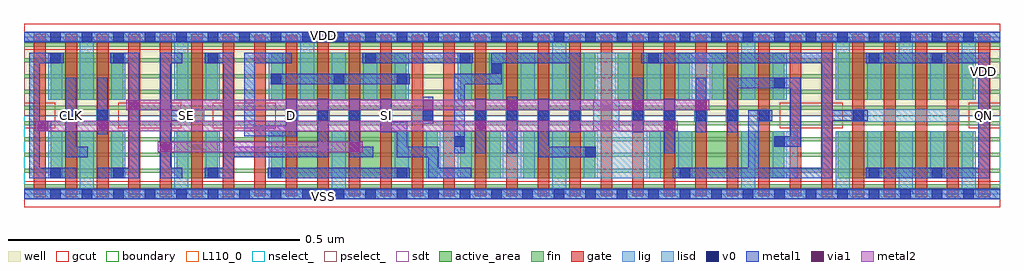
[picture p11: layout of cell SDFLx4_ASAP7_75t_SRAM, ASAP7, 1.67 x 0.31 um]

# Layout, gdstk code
import gdstk
lib = gdstk.Library(unit=1e-6, precision=2.5e-10)
def R(c, l, rs):  # rectangles x0, y0, x1, y1
    for r in rs: c.add(gdstk.rectangle(r[:2], r[2:], *l))
def A(c, l, x, y, w, h, nx, ny, dx, dy):  # array of equal rectangles
    R(c, l, [(x+i*dx, y+j*dy, x+i*dx+w, y+j*dy+h) for i in range(nx) for j in range(ny)])
def P(c, l, *ps):  # polygons
    for p in ps: c.add(gdstk.Polygon(p, *l))
well = (1, 0)
fin = (2, 0)
gate = (7, 0)
gcut = (10, 0)
active_area = (11, 0)
nselect_ = (12, 0)
pselect_ = (13, 0)
lig = (16, 0)
lisd = (17, 0)
v0 = (18, 0)
metal1 = (19, 0)
metal2 = (20, 0)
via1 = (21, 0)
sdt = (88, 0)
boundary = (100, 0)
L110_0 = (110, 0)

sdflx4_asap7_75t_sram = lib.new_cell('SDFLx4_ASAP7_75t_SRAM')
R(sdflx4_asap7_75t_sram, well, [(0,0.135,1.674,0.27)])
A(sdflx4_asap7_75t_sram, fin, 0, 0.01, 1.674, 0.007, 1, 10, 0, 0.027)
A(sdflx4_asap7_75t_sram, gate, 0.017, -0.005, 0.02, 0.2805, 7, 1, 0.054, 0)
A(sdflx4_asap7_75t_sram, gate, 1.367, -0.005, 0.02, 0.2805, 6, 1, 0.054, 0)
A(sdflx4_asap7_75t_sram, gate, 0.395, -0.0035, 0.02, 0.277, 18, 1, 0.054, 0)
R(sdflx4_asap7_75t_sram, gcut, [(0,-0.022,1.674,0.022), (0,0.113,0.054,0.157), (0.162,0.113,0.27,0.157), (0.324,0.113,0.432,0.157), (1.296,0.113,1.404,0.157), (1.62,0.113,1.674,0.157), (0,0.248,1.674,0.292)])
R(sdflx4_asap7_75t_sram, active_area, [(0.046,0.027,0.17,0.108), (0.262,0.027,0.332,0.108), (0.424,0.027,0.71,0.108), (0.748,0.027,0.818,0.108), (0.856,0.027,0.98,0.108), (1.072,0.027,1.304,0.108), (1.396,0.027,1.628,0.108), (0.046,0.162,0.17,0.243), (0.262,0.162,0.332,0.243), (0.424,0.162,0.656,0.243), (0.748,0.162,0.98,0.243), (1.018,0.162,1.142,0.243), (1.18,0.162,1.304,0.243), (1.396,0.162,1.628,0.243)])
R(sdflx4_asap7_75t_sram, nselect_, [(0,0,1.674,0.135)])
R(sdflx4_asap7_75t_sram, pselect_, [(0,0.135,1.674,0.27)])
A(sdflx4_asap7_75t_sram, lig, 0.448, 0.124, 0.022, 0.022, 4, 1, 0.054, 0)
A(sdflx4_asap7_75t_sram, lig, 0.772, 0.124, 0.022, 0.022, 4, 1, 0.054, 0)
A(sdflx4_asap7_75t_sram, lig, 1.042, 0.124, 0.022, 0.022, 5, 1, 0.054, 0)
R(sdflx4_asap7_75t_sram, lig, [(0,-0.008,1.674,0.008), (0.07,0.124,0.092,0.146), (0.124,0.124,0.146,0.146), (0.27,0.124,0.309,0.146), (0.664,0.124,0.702,0.146), (1.42,0.124,1.604,0.146), (0,0.262,1.674,0.278)])
A(sdflx4_asap7_75t_sram, lisd, 1.392, 0, 0.024, 0.108, 3, 2, 0.108, 0.162)
A(sdflx4_asap7_75t_sram, lisd, 0.312, 0.162, 0.024, 0.081, 3, 1, 0.108, 0)
A(sdflx4_asap7_75t_sram, lisd, 0.744, 0.162, 0.024, 0.081, 3, 1, 0.054, 0)
R(sdflx4_asap7_75t_sram, lisd, [(0.096,0,0.12,0.108), (0.258,0,0.282,0.108), (0.528,0,0.552,0.108), (0.906,0,0.93,0.108), (1.23,0,1.254,0.108), (0.042,0.027,0.066,0.108), (0.15,0.027,0.174,0.108), (0.312,0.027,0.336,0.108), (0.42,0.027,0.444,0.108), (0.636,0.027,0.66,0.108), (0.69,0.027,0.768,0.108), (0.798,0.027,0.876,0.108), (1.122,0.027,1.146,0.108), (1.284,0.027,1.327,0.108), (1.446,0.027,1.47,0.108), (1.554,0.027,1.578,0.108), (0.042,0.162,0.066,0.243), (0.096,0.162,0.12,0.27), (0.15,0.162,0.174,0.243), (0.258,0.162,0.282,0.27), (0.474,0.162,0.498,0.27), (0.582,0.162,0.606,0.243), (0.636,0.162,0.66,0.243), (0.906,0.162,0.93,0.27), (1.068,0.162,1.092,0.243), (1.122,0.162,1.2,0.243), (1.23,0.162,1.254,0.27), (1.284,0.162,1.308,0.243), (1.446,0.162,1.47,0.243), (1.554,0.162,1.578,0.243)])
P(sdflx4_asap7_75t_sram, lisd, [(1.092,0.108),(1.021,0.108),(1.021,0.162),(1.038,0.162),(1.038,0.243),(0.96,0.243),(0.96,0.162),(0.976,0.162),(0.976,0.108),(0.96,0.108),(0.96,0.027),(1.092,0.027)])
A(sdflx4_asap7_75t_sram, v0, 0.045, -0.009, 0.018, 0.018, 30, 2, 0.054, 0.27)
A(sdflx4_asap7_75t_sram, v0, 0.45, 0.126, 0.018, 0.018, 4, 1, 0.054, 0)
A(sdflx4_asap7_75t_sram, v0, 0.774, 0.126, 0.018, 0.018, 4, 1, 0.054, 0)
A(sdflx4_asap7_75t_sram, v0, 1.044, 0.126, 0.018, 0.018, 5, 1, 0.054, 0)
A(sdflx4_asap7_75t_sram, v0, 0.423, 0.189, 0.018, 0.018, 3, 1, 0.108, 0)
R(sdflx4_asap7_75t_sram, v0, [(0.045,0.027,0.063,0.045), (0.153,0.027,0.171,0.045), (0.315,0.027,0.333,0.045), (0.423,0.027,0.441,0.045), (0.639,0.027,0.657,0.045), (1.125,0.027,1.143,0.045), (1.449,0.027,1.467,0.045), (1.557,0.027,1.575,0.045), (0.963,0.063,0.981,0.081), (0.738,0.081,0.756,0.099), (1.287,0.081,1.305,0.099), (0.072,0.126,0.09,0.144), (0.126,0.126,0.144,0.144), (0.271,0.126,0.289,0.144), (0.684,0.126,0.702,0.144), (1.422,0.126,1.44,0.144), (1.287,0.182,1.305,0.2), (0.801,0.207,0.819,0.225), (0.045,0.225,0.063,0.243), (0.153,0.225,0.171,0.243), (0.315,0.225,0.333,0.243), (0.585,0.225,0.603,0.243), (0.747,0.225,0.765,0.243), (1.071,0.225,1.089,0.243), (1.449,0.225,1.467,0.243), (1.557,0.225,1.575,0.243)])
R(sdflx4_asap7_75t_sram, metal1, [(0,-0.009,1.674,0.009), (0.418,0.027,0.662,0.045), (0.774,0.07,0.792,0.164), (0.828,0.07,0.846,0.167), (1.098,0.07,1.116,0.164), (0.126,0.103,0.144,0.2), (1.044,0.106,1.062,0.2), (1.152,0.106,1.17,0.2), (0.684,0.121,0.702,0.167), (0.423,0.189,0.662,0.207), (0.58,0.225,0.77,0.243), (0,0.261,1.674,0.279)])
P(sdflx4_asap7_75t_sram, metal1, [(1.656,0.243),(1.444,0.243),(1.444,0.225),(1.637,0.225),(1.637,0.045),(1.444,0.045),(1.444,0.027),(1.656,0.027)],
  [(1.447,0.144),(1.386,0.144),(1.386,0.243),(1.059,0.243),(1.059,0.225),(1.368,0.225),(1.368,0.045),(1.26,0.045),(1.26,0.126),(1.283,0.126),(1.283,0.144),(1.242,0.144),(1.242,0.045),(1.113,0.045),(1.113,0.027),(1.386,0.027),(1.386,0.126),(1.447,0.126)],
  [(1.332,0.2),(1.206,0.2),(1.206,0.106),(1.224,0.106),(1.224,0.182),(1.314,0.182),(1.314,0.099),(1.287,0.099),(1.287,0.081),(1.332,0.081)],
  [(0.981,0.081),(0.9,0.081),(0.9,0.164),(0.882,0.164),(0.882,0.063),(0.981,0.063)],
  [(0.954,0.243),(0.801,0.243),(0.801,0.207),(0.738,0.207),(0.738,0.07),(0.756,0.07),(0.756,0.189),(0.819,0.189),(0.819,0.225),(0.936,0.225),(0.936,0.106),(0.954,0.106)],
  [(0.767,0.045),(0.711,0.045),(0.711,0.081),(0.657,0.081),(0.657,0.124),(0.63,0.124),(0.63,0.164),(0.612,0.164),(0.612,0.106),(0.639,0.106),(0.639,0.063),(0.693,0.063),(0.693,0.027),(0.767,0.027)],
  [(0.599,0.081),(0.576,0.081),(0.576,0.164),(0.558,0.164),(0.558,0.063),(0.599,0.063)],
  [(0.522,0.164),(0.504,0.164),(0.504,0.081),(0.36,0.081),(0.36,0.243),(0.31,0.243),(0.31,0.225),(0.342,0.225),(0.342,0.045),(0.31,0.045),(0.31,0.027),(0.36,0.027),(0.36,0.063),(0.522,0.063)],
  [(0.468,0.164),(0.45,0.164),(0.45,0.117),(0.396,0.117),(0.396,0.225),(0.459,0.225),(0.459,0.243),(0.378,0.243),(0.378,0.099),(0.468,0.099)],
  [(0.09,0.045),(0.027,0.045),(0.027,0.108),(0.047,0.108),(0.047,0.126),(0.027,0.126),(0.027,0.225),(0.068,0.225),(0.068,0.243),(0.009,0.243),(0.009,0.027),(0.09,0.027)],
  [(0.109,0.081),(0.09,0.081),(0.09,0.2),(0.072,0.2),(0.072,0.063),(0.109,0.063)],
  [(0.198,0.243),(0.148,0.243),(0.148,0.225),(0.18,0.225),(0.18,0.045),(0.126,0.045),(0.126,0.027),(0.198,0.027)],
  [(0.289,0.144),(0.252,0.144),(0.252,0.225),(0.271,0.225),(0.271,0.243),(0.234,0.243),(0.234,0.027),(0.271,0.027),(0.271,0.045),(0.252,0.045),(0.252,0.126),(0.289,0.126)])
R(sdflx4_asap7_75t_sram, metal2, [(0.229,0.072,0.581,0.09), (0.019,0.108,0.042,0.126), (0.024,0.108,1.121,0.126), (0.175,0.144,0.198,0.162), (0.18,0.144,1.175,0.162)])
R(sdflx4_asap7_75t_sram, via1, [(0.234,0.072,0.252,0.09), (0.558,0.072,0.576,0.09), (0.024,0.108,0.042,0.126), (0.126,0.108,0.144,0.126), (0.774,0.108,0.792,0.126), (1.098,0.108,1.116,0.126), (0.18,0.144,0.198,0.162), (0.684,0.144,0.702,0.162), (0.828,0.144,0.846,0.162), (1.044,0.144,1.062,0.162), (1.152,0.144,1.17,0.162)])
A(sdflx4_asap7_75t_sram, sdt, 0.042, 0.027, 0.024, 0.081, 3, 2, 0.054, 0.135)
A(sdflx4_asap7_75t_sram, sdt, 0.312, 0.027, 0.024, 0.081, 4, 1, 0.108, 0)
A(sdflx4_asap7_75t_sram, sdt, 0.69, 0.027, 0.024, 0.081, 6, 1, 0.054, 0)
A(sdflx4_asap7_75t_sram, sdt, 1.392, 0.027, 0.024, 0.081, 5, 2, 0.054, 0.135)
A(sdflx4_asap7_75t_sram, sdt, 0.42, 0.162, 0.024, 0.081, 5, 1, 0.054, 0)
A(sdflx4_asap7_75t_sram, sdt, 0.744, 0.162, 0.024, 0.081, 11, 1, 0.054, 0)
R(sdflx4_asap7_75t_sram, sdt, [(0.258,0.027,0.282,0.108), (1.068,0.027,1.092,0.108), (1.122,0.027,1.146,0.108), (1.23,0.027,1.254,0.108), (1.284,0.027,1.308,0.108), (0.258,0.162,0.282,0.243), (0.312,0.162,0.336,0.243)])
R(sdflx4_asap7_75t_sram, boundary, [(0,0,1.674,0.27)])
R(sdflx4_asap7_75t_sram, L110_0, [(0,0,1.674,0.27)])
sdflx4_asap7_75t_sram.add(gdstk.Label('VSS', (0.513,-0.0035), layer=19, texttype=251))
sdflx4_asap7_75t_sram.add(gdstk.Label('QN', (1.646,0.1345), layer=19, texttype=251))
sdflx4_asap7_75t_sram.add(gdstk.Label('SE', (0.278,0.1345), layer=19, texttype=251))
sdflx4_asap7_75t_sram.add(gdstk.Label('CLK', (0.081,0.1345), layer=19, texttype=251))
sdflx4_asap7_75t_sram.add(gdstk.Label('D', (0.459,0.1345), layer=19, texttype=251))
sdflx4_asap7_75t_sram.add(gdstk.Label('SI', (0.621,0.1345), layer=19, texttype=251))
sdflx4_asap7_75t_sram.add(gdstk.Label('VDD', (0.513,0.2725), layer=19, texttype=251))
sdflx4_asap7_75t_sram.add(gdstk.Label('VDD', (1.646,0.211), layer=1, texttype=251))
sdflx4_asap7_75t_sram.add(gdstk.Label('VSS', (1.715,0.21), layer=3, texttype=251))

lib.write_gds('SDFLx4_ASAP7_75t_SRAM.gds')
